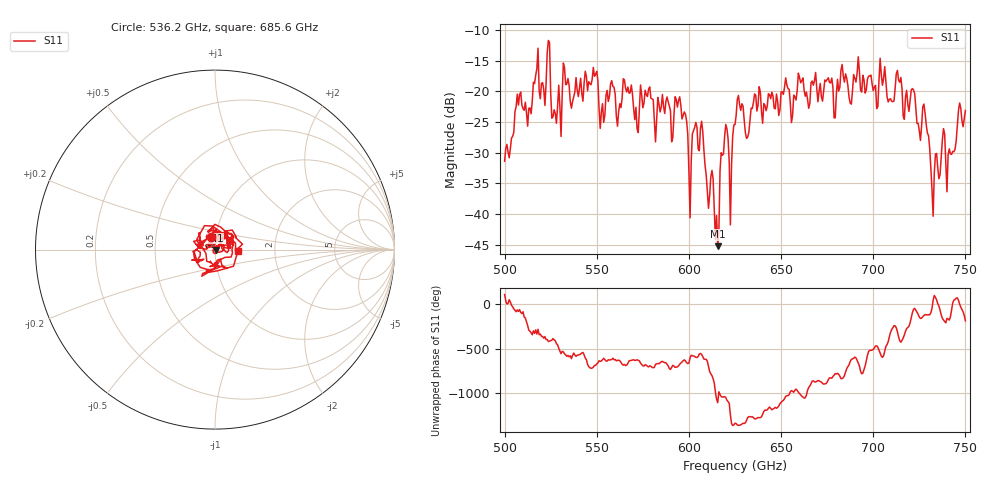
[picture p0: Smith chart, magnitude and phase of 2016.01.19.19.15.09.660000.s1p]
!Created with skrf (http://scikit-rf.org).
# GHz S RI R 50.0
!freq ReS11 ImS11
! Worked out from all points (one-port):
!   401 points, 500 GHz to 750 GHz, reference 50 ohm
!   lowest |S11| = -45.2 dB at 615.6 GHz (marker M1), VSWR 1.01, Z = 50.5 - j0.245 ohm
!   |S11| at or under -10 dB: start of sweep to end of sweep
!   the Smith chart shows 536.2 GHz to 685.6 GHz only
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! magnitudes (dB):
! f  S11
! 500 GHz  -31.4
! 507.5 GHz  -22.2
! 513.8 GHz  -22.7
! 516.9 GHz  -17.4
! 520.6 GHz  -18.6
! 523.8 GHz  -11.7
! 526.9 GHz  -23.0
! 531.2 GHz  -20.5
! 548.8 GHz  -17.6
! 552.5 GHz  -23.3
! 558.8 GHz  -19.2
! 562.5 GHz  -22.0
! 593.8 GHz  -22.6
! 600.6 GHz  -40.6
! 603.1 GHz  -25.9
! 607.5 GHz  -26.5
! 615.6 GHz  -45.2
! 618.8 GHz  -30.2
! 622.5 GHz  -41.8
! 625 GHz  -25.4
! 656.2 GHz  -23.9
! 660.6 GHz  -18.6
! 687.5 GHz  -21.9
! 705 GHz  -19.0
! 718.8 GHz  -22.1
! 728.1 GHz  -23.6
! 732.5 GHz  -40.3
! 750 GHz  -23.1
